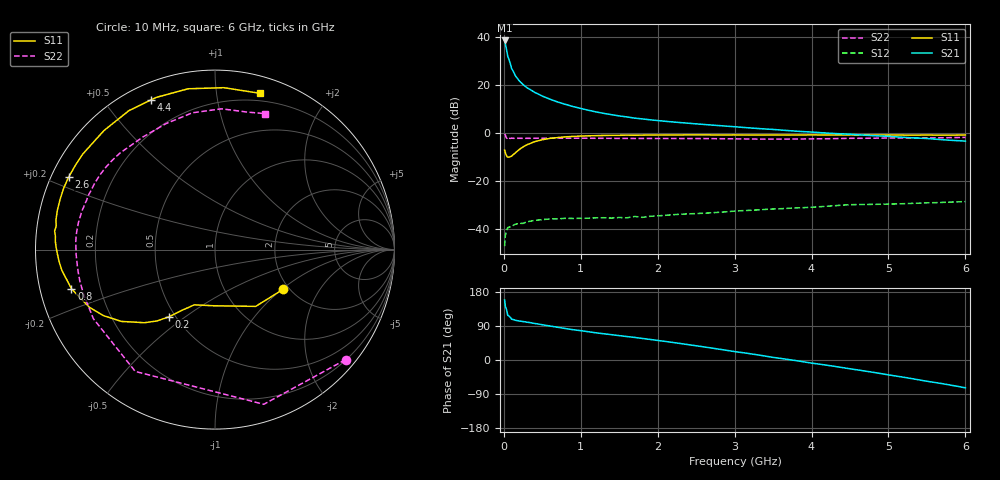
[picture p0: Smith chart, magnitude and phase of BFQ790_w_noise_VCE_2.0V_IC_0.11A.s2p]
! Infineon Technologies  Discrete & RF Semiconductors
! BFQ790
! VCE =  2.0 V,  IC = 0.11 A
! Common Emitter S-Parameters:  May 2015
# GHz  S  MA  R  50
!  f  S11  S21  S12  S22
! GHz  MAG  ANG  MAG  ANG  MAG  ANG  MAG  ANG
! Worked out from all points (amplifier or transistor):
!   77 points, 10 MHz to 6 GHz, reference 50 ohm
!   highest |S21| = 38.5 dB at 10 MHz (marker M1)
!   |S21| within 3 dB of that: start of sweep to 30.01 MHz
!   unconditionally stable (mu >= 1): 1.151 GHz to end of sweep
!   at 130 MHz: K = 0.69, MSG = 31.7 dB, |S12| = -38.3 dB
!   at 2.2 GHz: K = 1.19, MAG = 16.6 dB, |S12| = -34.0 dB
!   at 6 GHz: K = 1.22, MAG = 9.8 dB, |S12| = -28.6 dB
!   lowest NFmin = 2.66 dB at 1.5 GHz
!   S11 on the Smith chart (normalised r, x): 10 MHz: 1.85, -1.02; 200 MHz: 0.46, -0.44; 800 MHz: 0.10, -0.13; 2.6 GHz: 0.05, +0.23; 4.4 GHz: 0.07, +0.66; 6 GHz: 0.14, +1.32
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0.01  0.4388 -30.4  83.96 158.2  0.0044 65.4  0.9515 -40.1
0.02  0.3892 -54.4  70.49 141.2  0.0075 49.7  0.9038 -72.5
0.05  0.313 -91.2  39.87 118.2  0.0107 27.7  0.8112 -123.2
0.1  0.3286 -110.5  22.05 107.9  0.0114 18.1  0.7794 -150.4
0.15  0.3847 -118.5  15.46 104.8  0.0126 19.5  0.7732 -161.2
0.2  0.4523 -124.3  12.14 102.9  0.0131 19.0  0.7733 -166.9
0.25  0.5123 -129.1  10.12 101.5  0.0131 16.0  0.7723 -170.7
0.3  0.5664 -134.0  8.727 99.9  0.0142 13.8  0.7722 -173.5
0.4  0.6574 -142.5  6.991 96.4  0.0151 14.4  0.7741 -177.8
0.5  0.7216 -149.3  5.838 93.0  0.0157 10.7  0.775 179.1
0.6  0.7699 -155.3  5.032 89.7  0.0162 11.1  0.7769 176.6
0.7  0.7998 -160.5  4.398 86.3  0.0163 11.1  0.7775 174.4
0.8  0.8291 -164.8  3.935 83.1  0.0167 7.0  0.7769 172.6
1.1  0.8709 -175.5  2.961 74.5  0.0168 7.2  0.7749 167.5
1.5  0.8924 175.2  2.259 64.3  0.0174 6.5  0.7689 161.9
2.1  0.9058 163.9  1.747 49.0  0.0193 4.7  0.765 153.1
2.6  0.9101 153.5  1.501 34.6  0.0213 2.6  0.7626 143.5
3.1  0.9059 142.0  1.306 19.5  0.0241 -4.2  0.7503 132.2
4.1  0.908 119.7  1.017 -10.9  0.0291 -17.2  0.7544 108.8
4.4  0.9069 113.3  0.954 -20.0  0.0314 -22.2  0.7661 101.7
5.1  0.904 97.0  0.829 -42.4  0.0333 -36.0  0.7835 85.2
6  0.9058 74.1  0.676 -73.4  0.0373 -55.6  0.8075 69.7
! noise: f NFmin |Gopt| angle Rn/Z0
0.45  4.14  0.4  133  0.41
0.9  2.96  0.54  164  0.14
1.5  2.66  0.66  -175  0.07
1.8  2.77  0.68  -169  0.08
2.6  3.18  0.72  -153  0.2
3.5  3.77  0.83  -136  0.49
